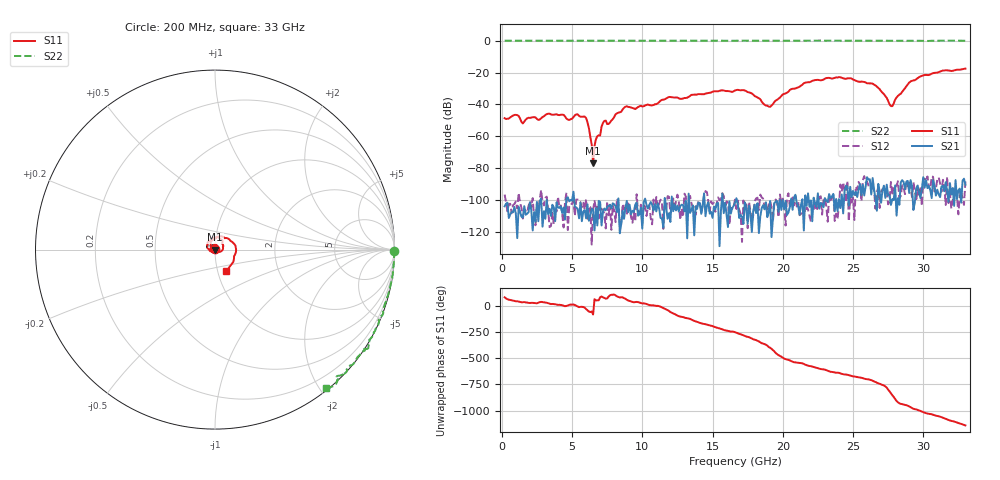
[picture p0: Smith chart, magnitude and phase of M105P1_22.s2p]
# GHZ S RI R 50
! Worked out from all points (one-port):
!   329 points, 200 MHz to 33 GHz, reference 50 ohm
!   lowest |S11| = -76.9 dB at 6.5 GHz (marker M1), VSWR 1.00, Z = 50 - j0.0142 ohm
!   |S11| at or under -10 dB: start of sweep to end of sweep
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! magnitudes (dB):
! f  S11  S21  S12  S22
! 200 MHz  -48.6  -103.9  -96.5  0.0
! 1.1 GHz  -46.7  -123.8  -105.2  0.0
! 1.5 GHz  -51.9  -111.0  -111.6  0.0
! 3.3 GHz  -45.8  -108.9  -106.0  0.0
! 5.7 GHz  -47.7  -113.2  -104.4  0.0
! 6.1 GHz  -51.2  -102.6  -111.8  0.0
! 6.4 GHz  -65.1  -105.3  -127.9  0.0
! 6.5 GHz  -76.9  -106.0  -106.1  0.0
! 6.6 GHz  -66.0  -119.0  -100.1  0.0
! 6.7 GHz  -61.8  -105.0  -105.5  0.0
! 7 GHz  -59.5  -101.2  -102.6  0.0
! 7.3 GHz  -50.3  -105.3  -108.8  0.0
! 7.6 GHz  -52.2  -103.6  -109.5  0.0
! 8.8 GHz  -41.4  -104.6  -102.7  0.0
! 11.2 GHz  -38.5  -105.3  -102.0  0.0
! 16.6 GHz  -31.2  -101.9  -99.7  0.0
! 19.1 GHz  -41.5  -100.6  -100.7  0.0
! 22.1 GHz  -25.2  -113.2  -106.2  0.0
! 26.4 GHz  -27.0  -86.1  -92.2  0.0
! 27.6 GHz  -39.9  -97.1  -100.6  -0.1
! 29.8 GHz  -22.4  -98.8  -91.5  -0.1
! 33 GHz  -17.5  -90.3  -88.3  -0.1
